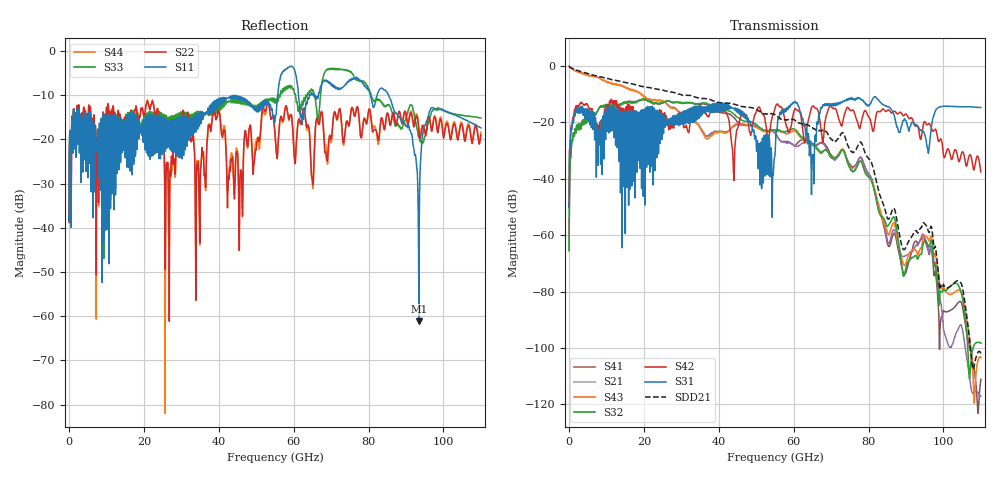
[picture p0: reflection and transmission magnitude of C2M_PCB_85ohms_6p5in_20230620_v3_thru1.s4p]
! Info: Touchstone file created by Circ.  Input file=C2M_PCB_85ohms_6p5in_20230620_v3.circ
# Hz S RI R 50
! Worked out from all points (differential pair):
!   11000 points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, 10 MHz to 110 GHz, reference 50 ohm
!   strongest paths, dB at 10 MHz, 27.51 GHz, 55.01 GHz, 82.51 GHz, 110 GHz:
!     S31: -50.2, -20.5, -31.5, -11.9, -14.8
!     S42: -50.0, -21.9, -15.1, -16.1, -37.6
!     S32: -65.4, -12.8, -22.7, -50.3, -98.3
!     S43: -0.1, -14.9, -23.0, -48.4, -103.4
!     S21: -0.1, -14.6, -23.7, -50.2, -116.9
!     S41: -65.4, -12.9, -23.8, -49.2, -111.1
!   taken as a pair (ports 3,1 in; 4,2 out), SDD21 dB: -0.1, -9.3, -17.3, -43.5, -102.0
!   lowest |S11| = -61.2 dB at 93.43 GHz (marker M1), VSWR 1.00, Z = 50.1 + j0.033 ohm
!   |S11| at or under -10 dB: start of sweep to 55.75 GHz; 61.27 GHz to 64.2 GHz (2.927 GHz wide, 4.67 % of centre); 85.32 GHz to end of sweep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
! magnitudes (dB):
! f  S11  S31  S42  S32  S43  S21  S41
! 10 MHz  -38.4  -50.2  -50.0  -65.4  -0.1  -0.1  -65.4
! 1.17 GHz  -13.5  -20.1  -18.0  -23.7  -1.4  -1.4  -23.7
! 8.43 GHz  -23.3  -34.8  -22.4  -14.2  -4.5  -4.5  -14.2
! 36.33 GHz  -14.2  -15.3  -16.6  -13.1  -25.2  -24.4  -13.5
! 76.77 GHz  -6.0  -11.8  -19.0  -35.9  -36.2  -34.6  -34.8
! 93.43 GHz  -61.2  -21.9  -23.0  -67.5  -65.9  -62.8  -62.6
! 110 GHz  -17.4  -14.8  -37.6  -98.3  -103.4  -116.9  -111.1
